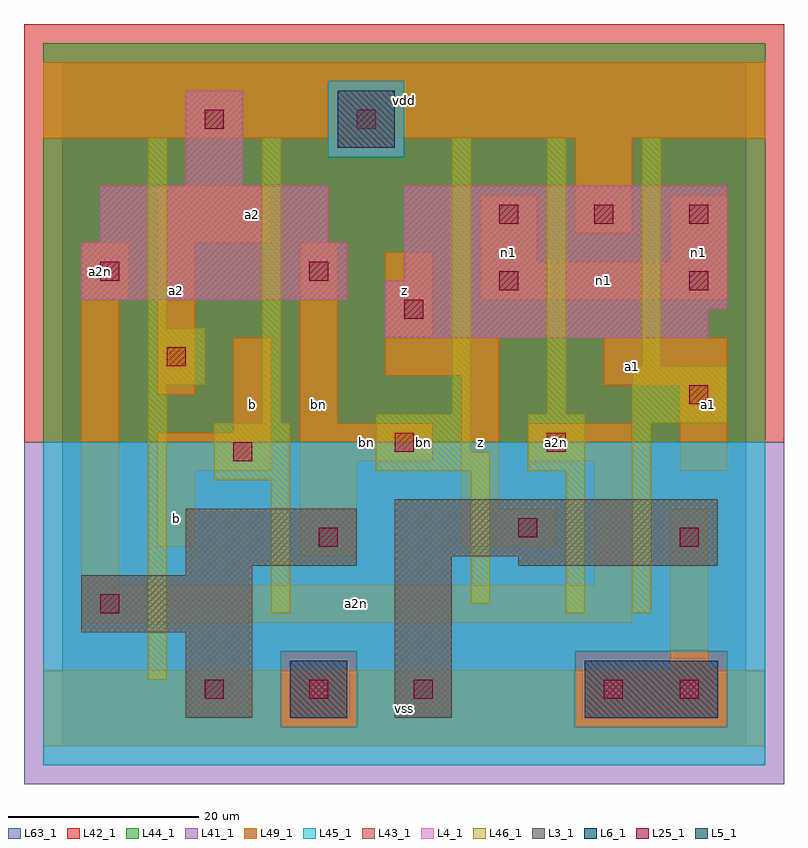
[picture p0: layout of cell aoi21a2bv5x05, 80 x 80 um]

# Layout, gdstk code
import gdstk
lib = gdstk.Library(unit=1e-6, precision=1e-09)
def R(c, l, rs):  # rectangles x0, y0, x1, y1
    for r in rs: c.add(gdstk.rectangle(r[:2], r[2:], *l))
def A(c, l, x, y, w, h, nx, ny, dx, dy):  # array of equal rectangles
    R(c, l, [(x+i*dx, y+j*dy, x+i*dx+w, y+j*dy+h) for i in range(nx) for j in range(ny)])
L3_1 = (3, 1)
L4_1 = (4, 1)
L5_1 = (5, 1)
L6_1 = (6, 1)
L25_1 = (25, 1)
L41_1 = (41, 1)
L42_1 = (42, 1)
L43_1 = (43, 1)
L44_1 = (44, 1)
L45_1 = (45, 1)
L46_1 = (46, 1)
L49_1 = (49, 1)
L63_1 = (63, 1)

aoi21a2bv5x05 = lib.new_cell('aoi21a2bv5x05')
R(aoi21a2bv5x05, L3_1, [(13,3,20,12), (35,3,41,20), (2,12,20,18), (13,18,20,19), (13,19,31,25), (48,19,69,20), (35,20,69,26)])
R(aoi21a2bv5x05, L4_1, [(34,43,68,46), (34,46,70,49), (2,47,30,53), (36,49,70,59), (4,53,28,59), (13,59,19,69)])
R(aoi21a2bv5x05, L5_1, [(29,63,35,69)])
R(aoi21a2bv5x05, L6_1, [(24,3,30,9), (24,3,30,9), (55,3,69,9), (55,3,69,9)])
A(aoi21a2bv5x05, L25_1, 15, 5, 2, 2, 3, 1, 11, 0)
A(aoi21a2bv5x05, L25_1, 46, 55, 2, 2, 3, 1, 10, 0)
R(aoi21a2bv5x05, L25_1, [(57,5,59,7), (65,5,67,7), (4,14,6,16), (27,21,29,23), (65,21,67,23), (48,22,50,24), (18,30,20,32), (35,31,37,33), (51,31,53,33), (66,36,68,38), (11,40,13,42), (36,45,38,47), (46,48,48,50), (66,48,68,50), (4,49,6,51), (26,49,28,51), (15,65,17,67), (31,65,33,67)])
R(aoi21a2bv5x05, L41_1, [(-4,-4,76,32)])
R(aoi21a2bv5x05, L42_1, [(-4,32,76,76)])
R(aoi21a2bv5x05, L43_1, [(13,3,20,12), (24,3,30,9), (35,3,41,20), (55,3,69,9), (2,12,20,18), (13,18,20,19), (13,19,31,25), (48,19,69,20), (35,20,69,26), (34,43,68,46), (34,46,70,49), (2,47,30,53), (36,49,70,59), (4,53,28,59), (13,59,19,69), (29,63,35,69)])
R(aoi21a2bv5x05, L44_1, [(23,2,31,10), (54,2,70,10), (-2,32,74,62), (-2,62,28,70), (36,62,74,70), (-2,70,74,74)])
R(aoi21a2bv5x05, L45_1, [(-2,-2,74,2), (-2,2,23,10), (31,2,54,10), (70,2,74,10), (-2,10,74,32), (28,62,36,70)])
R(aoi21a2bv5x05, L46_1, [(9,7,11,38), (22,14,24,28), (53,14,55,29), (60,14,62,34), (43,15,45,29), (16,28,24,34), (33,29,45,31), (49,29,55,35), (33,31,43,35), (21,34,23,64), (60,34,70,40), (41,35,43,64), (51,35,53,64), (9,38,15,44), (61,40,63,64), (9,44,11,64)])
R(aoi21a2bv5x05, L49_1, [(-2,0,74,8), (64,8,68,25), (2,13,60,17), (2,17,6,47), (56,17,60,30), (25,20,31,30), (10,21,14,29), (42,21,52,25), (42,25,46,39), (10,29,22,33), (65,29,70,38), (25,30,39,34), (49,30,60,34), (18,33,22,43), (25,34,29,53), (10,37,14,53), (57,38,70,43), (34,39,46,43), (34,43,39,52), (2,47,7,53), (44,47,70,51), (44,51,50,58), (64,51,70,58), (10,53,22,59), (54,54,60,64), (-2,64,74,72)])
R(aoi21a2bv5x05, L63_1, [(0,0,72,72)])
aoi21a2bv5x05.add(gdstk.Label('bn', (38,32), layer=46, texttype=1))
aoi21a2bv5x05.add(gdstk.Label('a2n', (52,32), layer=49, texttype=1))
aoi21a2bv5x05.add(gdstk.Label('b', (12,24), layer=49, texttype=1))
aoi21a2bv5x05.add(gdstk.Label('a2n', (4,50), layer=49, texttype=1))
aoi21a2bv5x05.add(gdstk.Label('a2', (12,48), layer=49, texttype=1))
aoi21a2bv5x05.add(gdstk.Label('bn', (27,36), layer=49, texttype=1))
aoi21a2bv5x05.add(gdstk.Label('b', (20,36), layer=49, texttype=1))
aoi21a2bv5x05.add(gdstk.Label('a2', (20,56), layer=49, texttype=1))
aoi21a2bv5x05.add(gdstk.Label('vss', (36,4), layer=49, texttype=1))
aoi21a2bv5x05.add(gdstk.Label('bn', (32,32), layer=49, texttype=1))
aoi21a2bv5x05.add(gdstk.Label('z', (44,32), layer=49, texttype=1))
aoi21a2bv5x05.add(gdstk.Label('z', (36,48), layer=49, texttype=1))
aoi21a2bv5x05.add(gdstk.Label('n1', (47,52), layer=49, texttype=1))
aoi21a2bv5x05.add(gdstk.Label('vdd', (36,68), layer=49, texttype=1))
aoi21a2bv5x05.add(gdstk.Label('a2n', (31,15), layer=49, texttype=1))
aoi21a2bv5x05.add(gdstk.Label('a2n', (54,32), layer=49, texttype=1))
aoi21a2bv5x05.add(gdstk.Label('a1', (60,40), layer=49, texttype=1))
aoi21a2bv5x05.add(gdstk.Label('a1', (68,36), layer=49, texttype=1))
aoi21a2bv5x05.add(gdstk.Label('n1', (57,49), layer=49, texttype=1))
aoi21a2bv5x05.add(gdstk.Label('n1', (67,52), layer=49, texttype=1))

lib.write_gds('aoi21a2bv5x05.gds')
